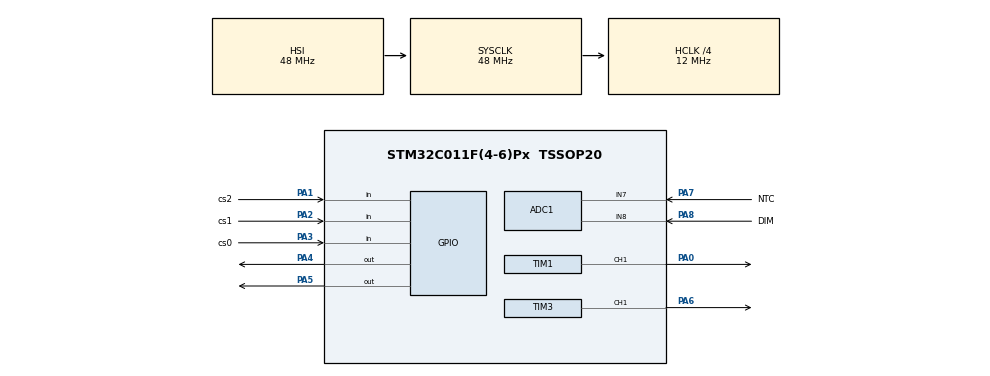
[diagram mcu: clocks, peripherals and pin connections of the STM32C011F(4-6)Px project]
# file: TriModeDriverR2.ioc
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ADC1.Channel-0\#ChannelRegularConversion=ADC_CHANNEL_8
ADC1.Channel-6\#ChannelRegularConversion=ADC_CHANNEL_7
ADC1.Channel-7\#ChannelRegularConversion=ADC_CHANNEL_TEMPSENSOR
ADC1.ClockPrescaler=ADC_CLOCK_SYNC_PCLK_DIV2
ADC1.DMAContinuousRequests=ENABLE
ADC1.EOCSelection=ADC_EOC_SEQ_CONV
ADC1.ExternalTrigConv=ADC_EXTERNALTRIG_T3_TRGO
ADC1.NbrOfConversion=3
ADC1.NbrOfConversionFlag=1
ADC1.Rank-6\#ChannelRegularConversion=2
ADC1.Rank-7\#ChannelRegularConversion=3
ADC1.SamplingTime-6\#ChannelRegularConversion=ADC_SAMPLINGTIME_COMMON_1
ADC1.SamplingTime-7\#ChannelRegularConversion=ADC_SAMPLINGTIME_COMMON_1
ADC1.SamplingTimeCommon1=ADC_SAMPLETIME_79CYCLES_5
ADC1.SamplingTimeCommon2=ADC_SAMPLETIME_19CYCLES_5
ADC1.SelectedChannel=ADC_CHANNEL_7|ADC_CHANNEL_TEMPSENSOR|ADC_CHANNEL_8
ADC1.master=1
Dma.ADC1.0.Direction=DMA_PERIPH_TO_MEMORY
Dma.ADC1.0.EventEnable=DISABLE
Dma.ADC1.0.Instance=DMA1_Channel1
Dma.ADC1.0.MemDataAlignment=DMA_MDATAALIGN_HALFWORD
Dma.ADC1.0.MemInc=DMA_MINC_ENABLE
Dma.ADC1.0.Mode=DMA_CIRCULAR
Dma.ADC1.0.PeriphDataAlignment=DMA_PDATAALIGN_HALFWORD
Dma.ADC1.0.PeriphInc=DMA_PINC_DISABLE
Dma.ADC1.0.Polarity=HAL_DMAMUX_REQ_GEN_RISING
Dma.ADC1.0.Priority=DMA_PRIORITY_LOW
Dma.ADC1.0.RequestNumber=1
Dma.ADC1.0.SignalID=NONE
Dma.ADC1.0.SyncEnable=DISABLE
Dma.ADC1.0.SyncPolarity=HAL_DMAMUX_SYNC_NO_EVENT
Dma.ADC1.0.SyncRequestNumber=1
Dma.ADC1.0.SyncSignalID=NONE
Dma.Request0=ADC1
Mcu.Family=STM32C0
Mcu.Name=STM32C011F(4-6)Px
Mcu.Package=TSSOP20
NVIC.DMA1_Channel1_IRQn=true\:0\:0\:false\:false\:true\:false\:true\:true
NVIC.TIM14_IRQn=true\:2\:0\:true\:false\:true\:true\:true\:true
NVIC.TIM1_CC_IRQn=true\:0\:0\:true\:false\:true\:true\:true\:true
NVIC.TIM3_IRQn=true\:0\:0\:true\:false\:true\:true\:true\:true
PA0.Signal=S_TIM1_CH1
PA1.GPIO_Label=cs2
PA1.GPIO_PuPd=GPIO_PULLDOWN
PA1.Signal=GPIO_Input
PA13.Mode=Serial_Wire
PA13.Signal=DEBUG_SWDIO
PA14-BOOT0.Mode=Serial_Wire
PA14-BOOT0.Signal=DEBUG_SWCLK
PA2.GPIO_Label=cs1
PA2.GPIO_PuPd=GPIO_PULLDOWN
PA2.Signal=GPIO_Input
PA3.GPIO_Label=cs0
PA3.GPIO_PuPd=GPIO_PULLDOWN
PA3.Signal=GPIO_Input
PA4.Signal=GPIO_Output
PA5.Signal=GPIO_Output
PA6.Signal=S_TIM3_CH1
PA7.GPIO_Label=NTC
PA7.Mode=IN7
PA7.Signal=ADC1_IN7
PA8.GPIO_Label=DIM
PA8.GPIO_Mode=GPIO_MODE_ANALOG
PA8.GPIO_PuPd=GPIO_NOPULL
PA8.Mode=IN8
PA8.Signal=ADC1_IN8
ProjectManager.HeapSize=0x200
ProjectManager.StackSize=0x400
ProjectManager.TargetToolchain=STM32CubeIDE
RCC.ADCFreq_Value=48000000
RCC.AHBCLKDivider=RCC_HCLK_DIV4
RCC.AHBFreq_Value=12000000
RCC.CortexFreq_Value=12000000
RCC.EXTERNAL_CLOCK_VALUE=12288000
RCC.HCLKFreq_Value=12000000
RCC.HSE_VALUE=8000000
RCC.HSISYSCLKDivider=RCC_HSI_DIV1
RCC.HSI_VALUE=48000000
RCC.LSE_VALUE=32768
RCC.SYSCLKFreq_VALUE=48000000
SH.S_TIM1_CH1.0=TIM1_CH1,PWM Generation1 CH1
SH.S_TIM3_CH1.0=TIM3_CH1,Output Compare1 CH1
TIM1.Channel-PWM\ Generation1\ CH1=TIM_CHANNEL_1
TIM1.OCPolarity_1=TIM_OCPOLARITY_LOW
TIM1.Period=8192
TIM1.Prescaler=0
TIM14.Channel=TIM_CHANNEL_1
TIM14.Period=999
TIM14.Prescaler=2999
TIM3.Channel-Output\ Compare1\ CH1=TIM_CHANNEL_1
TIM3.OCMode_1=TIM_OCMODE_TOGGLE
TIM3.Period=999
TIM3.Prescaler=8-1
TIM3.Pulse-Output\ Compare1\ CH1=1024
TIM3.TIM_MasterOutputTrigger=TIM_TRGO_UPDATE
TIM3.TIM_MasterSlaveMode=TIM_MASTERSLAVEMODE_ENABLE
VP_ADC1_TempSens_Input.Mode=IN-TempSens
VP_TIM14_VS_ClockSourceINT.Mode=Enable_Timer
VP_TIM1_VS_ClockSourceINT.Mode=Internal
VP_TIM3_VS_ClockSourceINT.Mode=Internal
board=custom

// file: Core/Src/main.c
/* USER CODE BEGIN Header */
/**
  ******************************************************************************
  * @file           : main.c
  * @brief          : Main program body
  ******************************************************************************
  * @attention
  *
  * Copyright (c) 2024 STMicroelectronics.
  * All rights reserved.
  *
  * This software is licensed under terms that can be found in the LICENSE file
  * in the root directory of this software component.
  * If no LICENSE file comes with this software, it is provided AS-IS.
  *
  ******************************************************************************
  */
/* USER CODE END Header */
#include "main.h"

/* USER CODE BEGIN Includes */
 uint16_t dim_filt;
 uint16_t ntc_filt;
 uint16_t dim_adc;
 uint16_t ntc_adc;
 uint16_t dim_setpoint;
 uint16_t current_index;
 uint16_t duty_cycle;
 uint16_t duty_cycle_setpoint;
 uint16_t over_temp_duty_cycle;
 uint16_t ntc;
 uint16_t MCU_temperature;
 uint16_t temp;
 uint16_t cs0;
 uint16_t cs1;
 uint16_t cs2;
 uint16_t start_derating = OTP_THRESHOLD;
 int16_t filter_out;
 uint16_t counter_filter;
//volatile uint32_t sum;
//volatile uint32_t in;
//volatile uint32_t average;
//volatile uint16_t alpha;
volatile uint32_t dim_circ_buf[N(K)]; // The circular buffer is the filter register.
volatile uint32_t ntc_circ_buf[N(K)]; // The circular buffer is the filter register.
volatile uint32_t otp_circ_buf[N(K)];
volatile uint32_t dim_sum = 0; // Sum of elements in the filter register.
volatile uint32_t ntc_sum = 0; // Sum of elements in the filter register.
volatile uint32_t otp_duty_cycle_sum = 0;
volatile uint16_t circ_buf_ptr = 0; // Index for the circular buffer.
volatile uint16_t otp_circ_buf_ptr = 0; // Index for the circular buffer.
 float ntc_temp;
 float ntc_resistance;
 float ratio;
 float T;
 float otp_duty_cycle;

 uint16_t otp_flag = 1;
 uint16_t softstart = 0;
//float start_dimming = 0.53 ; // in %
//float start_derating = 80; // in °C
//float stop_dimming = 0; // in %
//float stop_derating = 100; // in °C
// y = (start_dimming - stop_dimming) / (start_derating - stop_derating);
// x = - ( (y * start_derating) - (start_dimming) );

float percent_derating;

State_e state;
/* USER CODE END Includes */

/* USER CODE BEGIN PD */
#define ADC_BUF_LEN 3

/* USER CODE END PD */

ADC_HandleTypeDef hadc1;
DMA_HandleTypeDef hdma_adc1;

TIM_HandleTypeDef htim1;
TIM_HandleTypeDef htim3;
TIM_HandleTypeDef htim14;

/* USER CODE BEGIN PV */
uint16_t 	adcResultsDMA[ADC_BUF_LEN];

//const int 			adcChannelCount = sizeof (adcResultsDMA)/sizeof (adcResultsDMA[0]);
volatile int		adcConversionComplete = 0;

/* USER CODE END PV */

void SystemClock_Config(void);
static void MX_GPIO_Init(void);
static void MX_DMA_Init(void);
static void MX_ADC1_Init(void);
static void MX_TIM1_Init(void);
static void MX_TIM3_Init(void);
static void MX_TIM14_Init(void);

/* USER CODE BEGIN 0 */

uint8_t convCompleted = 0;

void HAL_ADC_ConvCpltCallback(ADC_HandleTypeDef *hadc)
{
	convCompleted = 1;
	HAL_GPIO_TogglePin(GPIOA, GPIO_PIN_5);
	HAL_ADC_Stop_DMA(&hadc1);

//	 dim_filt = Averagingfilter (dim_adc);
//	 uint16_t Averagingfilter (uint16_t input) {
//	 dim_sum -= dim_circ_buf[circ_buf_ptr]; // Subtract the oldest value from the sum.
//	 ntc_sum -= ntc_circ_buf[circ_buf_ptr]; // Subtract the oldest value from the sum.
//	 dim_circ_buf[circ_buf_ptr] = dim_adc; // Place the input in the filter register.
//	 ntc_circ_buf[circ_buf_ptr] = ntc_adc; // Place the input in the filter register.
//	 dim_sum += dim_circ_buf[circ_buf_ptr++]; // Ad the newest value to the sum.
//	 ntc_sum += ntc_circ_buf[circ_buf_ptr++]; // Ad the newest value to the sum.
//	 circ_buf_ptr %= N(K); // Increment the buffer keeping it in the range 0 to N-1;
//	 dim_filt = dim_sum >> K;
//	 ntc_filt = ntc_sum >> K;
//	 temp = dim_filt;
}

/* USER CODE END 0 */

int main(void)
{

  /* USER CODE BEGIN 1 */

	current_index = 0.0f;
	ntc = 0;
	duty_cycle_setpoint = 0;
	duty_cycle = 1;
	MCU_temperature = 0;
	temp = 0;
	cs0 = 0;
	cs1 = 0;
	cs2 = 0;
	state = STANDBY;
	float max_current[8] = {
			SCALED_CURRENT_LEVEL_1,
			SCALED_CURRENT_LEVEL_2,
			SCALED_CURRENT_LEVEL_3,
			SCALED_CURRENT_LEVEL_4,
			SCALED_CURRENT_LEVEL_5,
			SCALED_CURRENT_LEVEL_6,
			SCALED_CURRENT_LEVEL_7,
			SCALED_CURRENT_LEVEL_8
			};
	duty_cycle = 0;

  /* USER CODE END 1 */

  /* MCU Configuration--------------------------------------------------------*/

  /* Reset of all peripherals, Initializes the Flash interface and the Systick. */
  HAL_Init();

  /* Configure the system clock */
  SystemClock_Config();

  /* Initialize all configured peripherals */
  MX_GPIO_Init();
  MX_DMA_Init();
  MX_ADC1_Init();
  MX_TIM1_Init();
  MX_TIM3_Init();
  MX_TIM14_Init();
  /* USER CODE BEGIN 2 */

  HAL_TIM_Base_Start_IT(&htim3);
  HAL_TIM_OC_Start(&htim3, TIM_CHANNEL_1);
  HAL_TIM_Base_Start_IT(&htim14);
  HAL_TIM_OC_Start(&htim14, TIM_CHANNEL_1);

  HAL_TIM_PWM_Start(&htim1, TIM_CHANNEL_1);
  HAL_ADC_Start_DMA(&hadc1, (uint32_t*)adcResultsDMA, ADC_BUF_LEN);
  /* USER CODE END 2 */

  /* Infinite loop */
  while (1)
  {

    /* USER CODE BEGIN 3 */
//	  	  HAL_ADC_Start(&hadc1);
//	  	  HAL_ADC_PollForConversion(&hadc1, HAL_MAX_DELAY);
//  	  	  HAL_ADC_Start_DMA(&hadc1, (uint32_t*)adcResultsDMA, ADC_BUF_LEN);

// Voltage divider is 120k and 61.9k. Gain is 0.340, adc count at 9.7V = 4095. adc count at 1.0V is 395
	  	  dim_adc = adcResultsDMA[0];
	  	  ntc_adc = adcResultsDMA[1];
	  	  dim_sum -= dim_circ_buf[circ_buf_ptr]; // Subtract the oldest value from the sum.
	  	  ntc_sum -= ntc_circ_buf[circ_buf_ptr]; // Subtract the oldest value from the sum.
	  	  dim_circ_buf[circ_buf_ptr] = dim_adc; // Place the input in the filter register.
	  	  ntc_circ_buf[circ_buf_ptr] = ntc_adc; // Place the input in the filter register.
	  	  dim_sum += dim_circ_buf[circ_buf_ptr]; // Ad the newest value to the sum.
	  	  ntc_sum += ntc_circ_buf[circ_buf_ptr++]; // Ad the newest value to the sum.
	  	  circ_buf_ptr %= N(K); // Increment the buffer keeping it in the range 0 to N-1;
	  	  dim_filt = (uint16_t)(dim_sum >> K);
	  	  ntc_filt = (uint16_t)(ntc_sum >> K);
	  	  temp = dim_filt;

		  if (dim_filt < 870){
			  dim_filt = 0;
		  }
		  if (dim_filt != 0){
		  dim_filt = dim_filt - 870; //Offset due to 1k resistor and 0.5mA current source
		  dim_filt = dim_filt * 1.27;// set slope
		  }
		  if (dim_filt > 4095){
			  dim_filt = 4095;
		  }
		  dim_setpoint = dim_filt;

		  MCU_temperature = adcResultsDMA[2];

		  HAL_ADC_Start_DMA(&hadc1, (uint32_t*)adcResultsDMA, ADC_BUF_LEN);
//	  	  HAL_Delay(50);

		  cs0 = HAL_GPIO_ReadPin(GPIOA, GPIO_PIN_3);
		  cs1 = HAL_GPIO_ReadPin(GPIOA, GPIO_PIN_2);
		  cs2 = HAL_GPIO_ReadPin(GPIOA, GPIO_PIN_1);
		  current_index = (cs2<<2) + (cs1<<1) + cs0;

//	  	  temp = max_current[current_index];

	  	  duty_cycle = max_current[current_index] * dim_setpoint; //Timer1 period is 8192

			 if ((duty_cycle_setpoint <= duty_cycle) && (ntc_temp < START_DERATING)){
				 duty_cycle_setpoint++;
				 percent_derating = 1;
				 otp_flag = 1;
			 }
			 if ((duty_cycle_setpoint > duty_cycle) && (ntc_temp < START_DERATING)){
			 	 duty_cycle_setpoint--;
			 	percent_derating = 1;
			 	otp_flag = 1;
			 }
//			 HAL_GPIO_TogglePin(GPIOA, GPIO_PIN_4);
			 TIM1->CCR1 = duty_cycle_setpoint;   //Timer1 period is 8192

	  	  switch (state) {
	  	           case STANDBY:
	  	           if (softstart < 9){
	  	            duty_cycle_setpoint = duty_cycle;
	  	           }
	  	           if (softstart == 9){
	  	           	state = RUNNING;
	  	           }
	  	           ++softstart;

	  	            break;
	  	            case SOFTSTART:
	  	            break;
	  	            case FAULT:
	  	          	break;
	  	            case RUNNING:
	  	            	softstart = 0;
	  	}
  }

}

	void HAL_TIM_PeriodElapsedCallback(TIM_HandleTypeDef *htim)
	{
	  /* Prevent unused argument(s) compilation warning */
		 if(htim->Instance==TIM14)
		     {
//			 if ((duty_cycle_setpoint <= duty_cycle) && (ntc_temp < START_DERATING)){
//			 				 duty_cycle_setpoint++;
//			 				 percent_derating = 1;
//			 				 otp_flag = 1;
//			 			 }
//			 			 if ((duty_cycle_setpoint > duty_cycle) && (ntc_temp < START_DERATING)){
//			 			 	 duty_cycle_setpoint--;
//			 			 	percent_derating = 1;
//			 			 	otp_flag = 1;
//			 			 }

			 //	  	  ntc_resistance = thermistorResistance(ntc_filt);
			 	  	  ratio = (float)ntc_filt/4096.0;
			 	  	  ntc_resistance = 10000 * (1-ratio)/ ratio;
			 //	  	  ntc_temp = thermistorTemperature(ntc_resistance);
			 	  	  T =  1 / ((1 / T25) + ((log(ntc_resistance / R25)) / BETA));
			 	  	  ntc_temp = T - 273.15; // Converting kelvin to celsius
			 	  	  if (ntc_temp > START_DERATING && ntc_temp < STOP_DERATING){
			 	  		  // derating slope calculation
			 	  		  if (otp_flag == 1){
			 				 over_temp_duty_cycle = duty_cycle_setpoint;
			 				 otp_flag = 0;
			 				 }
			 				 percent_derating = ntc_temp * ORDINATE + ABSCISSA;
			 				 if(percent_derating > 1)percent_derating = 1;
			 				 otp_duty_cycle = (over_temp_duty_cycle * percent_derating);

			 				otp_duty_cycle_sum -= otp_circ_buf[otp_circ_buf_ptr]; // Subtract the oldest value from the sum.

			 				otp_circ_buf[otp_circ_buf_ptr] = otp_duty_cycle; // Place the input in the filter register.

			 				otp_duty_cycle_sum += otp_circ_buf[otp_circ_buf_ptr++]; // Ad the newest value to the sum.

			 				otp_circ_buf_ptr %= N(K); // Increment the buffer keeping it in the range 0 to N-1;

			 				duty_cycle_setpoint = (uint16_t)(otp_duty_cycle_sum>>K);
			 			 }
			 			 HAL_GPIO_TogglePin(GPIOA, GPIO_PIN_4);
//			 			 TIM1->CCR1 = duty_cycle_setpoint;   //Timer1 period is 8192
			 }

	}
  /* USER CODE END 3 */

void SystemClock_Config(void)
{
  RCC_OscInitTypeDef RCC_OscInitStruct = {0};
  RCC_ClkInitTypeDef RCC_ClkInitStruct = {0};

  /** Initializes the RCC Oscillators according to the specified parameters
  * in the RCC_OscInitTypeDef structure.
  */
  RCC_OscInitStruct.OscillatorType = RCC_OSCILLATORTYPE_HSI;
  RCC_OscInitStruct.HSIState = RCC_HSI_ON;
  RCC_OscInitStruct.HSIDiv = RCC_HSI_DIV1;
  RCC_OscInitStruct.HSICalibrationValue = RCC_HSICALIBRATION_DEFAULT;
  if (HAL_RCC_OscConfig(&RCC_OscInitStruct) != HAL_OK)
  {
    Error_Handler();
  }

  /** Initializes the CPU, AHB and APB buses clocks
  */
  RCC_ClkInitStruct.ClockType = RCC_CLOCKTYPE_HCLK|RCC_CLOCKTYPE_SYSCLK
                              |RCC_CLOCKTYPE_PCLK1;
  RCC_ClkInitStruct.SYSCLKSource = RCC_SYSCLKSOURCE_HSI;
  RCC_ClkInitStruct.SYSCLKDivider = RCC_SYSCLK_DIV1;
  RCC_ClkInitStruct.AHBCLKDivider = RCC_HCLK_DIV4;
  RCC_ClkInitStruct.APB1CLKDivider = RCC_APB1_DIV1;

  if (HAL_RCC_ClockConfig(&RCC_ClkInitStruct, FLASH_LATENCY_0) != HAL_OK)
  {
    Error_Handler();
  }
}

static void MX_ADC1_Init(void)
{

  ADC_ChannelConfTypeDef sConfig = {0};

  /** Configure the global features of the ADC (Clock, Resolution, Data Alignment and number of conversion)
  */
  hadc1.Instance = ADC1;
  hadc1.Init.ClockPrescaler = ADC_CLOCK_SYNC_PCLK_DIV2;
  hadc1.Init.Resolution = ADC_RESOLUTION_12B;
  hadc1.Init.DataAlign = ADC_DATAALIGN_RIGHT;
  hadc1.Init.ScanConvMode = ADC_SCAN_ENABLE;
  hadc1.Init.EOCSelection = ADC_EOC_SEQ_CONV;
  hadc1.Init.LowPowerAutoWait = DISABLE;
  hadc1.Init.LowPowerAutoPowerOff = DISABLE;
  hadc1.Init.ContinuousConvMode = DISABLE;
  hadc1.Init.NbrOfConversion = 3;
  hadc1.Init.DiscontinuousConvMode = DISABLE;
  hadc1.Init.ExternalTrigConv = ADC_EXTERNALTRIG_T3_TRGO;
  hadc1.Init.ExternalTrigConvEdge = ADC_EXTERNALTRIGCONVEDGE_RISING;
  hadc1.Init.DMAContinuousRequests = ENABLE;
  hadc1.Init.Overrun = ADC_OVR_DATA_PRESERVED;
  hadc1.Init.SamplingTimeCommon1 = ADC_SAMPLETIME_79CYCLES_5;
  hadc1.Init.SamplingTimeCommon2 = ADC_SAMPLETIME_19CYCLES_5;
  hadc1.Init.OversamplingMode = DISABLE;
  hadc1.Init.TriggerFrequencyMode = ADC_TRIGGER_FREQ_HIGH;
  if (HAL_ADC_Init(&hadc1) != HAL_OK)
  {
    Error_Handler();
  }

  /** Configure Regular Channel
  */
  sConfig.Channel = ADC_CHANNEL_8;
  sConfig.Rank = ADC_REGULAR_RANK_1;
  sConfig.SamplingTime = ADC_SAMPLINGTIME_COMMON_1;
  if (HAL_ADC_ConfigChannel(&hadc1, &sConfig) != HAL_OK)
  {
    Error_Handler();
  }

  /** Configure Regular Channel
  */
  sConfig.Channel = ADC_CHANNEL_7;
  sConfig.Rank = ADC_REGULAR_RANK_2;
  if (HAL_ADC_ConfigChannel(&hadc1, &sConfig) != HAL_OK)
  {
    Error_Handler();
  }

  /** Configure Regular Channel
  */
  sConfig.Channel = ADC_CHANNEL_TEMPSENSOR;
  sConfig.Rank = ADC_REGULAR_RANK_3;
  if (HAL_ADC_ConfigChannel(&hadc1, &sConfig) != HAL_OK)
  {
    Error_Handler();
  }

}

static void MX_TIM1_Init(void)
{

  TIM_ClockConfigTypeDef sClockSourceConfig = {0};
  TIM_MasterConfigTypeDef sMasterConfig = {0};
  TIM_OC_InitTypeDef sConfigOC = {0};
  TIM_BreakDeadTimeConfigTypeDef sBreakDeadTimeConfig = {0};

  htim1.Instance = TIM1;
  htim1.Init.Prescaler = 0;
  htim1.Init.CounterMode = TIM_COUNTERMODE_UP;
  htim1.Init.Period = 8192;
  htim1.Init.ClockDivision = TIM_CLOCKDIVISION_DIV1;
  htim1.Init.RepetitionCounter = 0;
  htim1.Init.AutoReloadPreload = TIM_AUTORELOAD_PRELOAD_DISABLE;
  if (HAL_TIM_Base_Init(&htim1) != HAL_OK)
  {
    Error_Handler();
  }
  sClockSourceConfig.ClockSource = TIM_CLOCKSOURCE_INTERNAL;
  if (HAL_TIM_ConfigClockSource(&htim1, &sClockSourceConfig) != HAL_OK)
  {
    Error_Handler();
  }
  if (HAL_TIM_PWM_Init(&htim1) != HAL_OK)
  {
    Error_Handler();
  }
  sMasterConfig.MasterOutputTrigger = TIM_TRGO_RESET;
  sMasterConfig.MasterOutputTrigger2 = TIM_TRGO2_RESET;
  sMasterConfig.MasterSlaveMode = TIM_MASTERSLAVEMODE_DISABLE;
  if (HAL_TIMEx_MasterConfigSynchronization(&htim1, &sMasterConfig) != HAL_OK)
  {
    Error_Handler();
  }
  sConfigOC.OCMode = TIM_OCMODE_PWM1;
  sConfigOC.Pulse = 0;
  sConfigOC.OCPolarity = TIM_OCPOLARITY_LOW;
  sConfigOC.OCNPolarity = TIM_OCNPOLARITY_HIGH;
  sConfigOC.OCFastMode = TIM_OCFAST_DISABLE;
  sConfigOC.OCIdleState = TIM_OCIDLESTATE_RESET;
  sConfigOC.OCNIdleState = TIM_OCNIDLESTATE_RESET;
  if (HAL_TIM_PWM_ConfigChannel(&htim1, &sConfigOC, TIM_CHANNEL_1) != HAL_OK)
  {
    Error_Handler();
  }
  sBreakDeadTimeConfig.OffStateRunMode = TIM_OSSR_DISABLE;
  sBreakDeadTimeConfig.OffStateIDLEMode = TIM_OSSI_DISABLE;
  sBreakDeadTimeConfig.LockLevel = TIM_LOCKLEVEL_OFF;
  sBreakDeadTimeConfig.DeadTime = 0;
  sBreakDeadTimeConfig.BreakState = TIM_BREAK_DISABLE;
  sBreakDeadTimeConfig.BreakPolarity = TIM_BREAKPOLARITY_HIGH;
  sBreakDeadTimeConfig.BreakFilter = 0;
  sBreakDeadTimeConfig.BreakAFMode = TIM_BREAK_AFMODE_INPUT;
  sBreakDeadTimeConfig.Break2State = TIM_BREAK2_DISABLE;
  sBreakDeadTimeConfig.Break2Polarity = TIM_BREAK2POLARITY_HIGH;
  sBreakDeadTimeConfig.Break2Filter = 0;
  sBreakDeadTimeConfig.Break2AFMode = TIM_BREAK_AFMODE_INPUT;
  sBreakDeadTimeConfig.AutomaticOutput = TIM_AUTOMATICOUTPUT_DISABLE;
  if (HAL_TIMEx_ConfigBreakDeadTime(&htim1, &sBreakDeadTimeConfig) != HAL_OK)
  {
    Error_Handler();
  }
  HAL_TIM_MspPostInit(&htim1);

}

static void MX_TIM3_Init(void)
{

  TIM_ClockConfigTypeDef sClockSourceConfig = {0};
  TIM_MasterConfigTypeDef sMasterConfig = {0};
  TIM_OC_InitTypeDef sConfigOC = {0};

  htim3.Instance = TIM3;
  htim3.Init.Prescaler = 8-1;
  htim3.Init.CounterMode = TIM_COUNTERMODE_UP;
  htim3.Init.Period = 999;
  htim3.Init.ClockDivision = TIM_CLOCKDIVISION_DIV1;
  htim3.Init.AutoReloadPreload = TIM_AUTORELOAD_PRELOAD_DISABLE;
  if (HAL_TIM_Base_Init(&htim3) != HAL_OK)
  {
    Error_Handler();
  }
  sClockSourceConfig.ClockSource = TIM_CLOCKSOURCE_INTERNAL;
  if (HAL_TIM_ConfigClockSource(&htim3, &sClockSourceConfig) != HAL_OK)
  {
    Error_Handler();
  }
  if (HAL_TIM_OC_Init(&htim3) != HAL_OK)
  {
    Error_Handler();
  }
  sMasterConfig.MasterOutputTrigger = TIM_TRGO_UPDATE;
  sMasterConfig.MasterSlaveMode = TIM_MASTERSLAVEMODE_ENABLE;
  if (HAL_TIMEx_MasterConfigSynchronization(&htim3, &sMasterConfig) != HAL_OK)
  {
    Error_Handler();
  }
  sConfigOC.OCMode = TIM_OCMODE_TOGGLE;
  sConfigOC.Pulse = 1024;
  sConfigOC.OCPolarity = TIM_OCPOLARITY_HIGH;
  sConfigOC.OCFastMode = TIM_OCFAST_DISABLE;
  if (HAL_TIM_OC_ConfigChannel(&htim3, &sConfigOC, TIM_CHANNEL_1) != HAL_OK)
  {
    Error_Handler();
  }
  HAL_TIM_MspPostInit(&htim3);

}

static void MX_TIM14_Init(void)
{

  htim14.Instance = TIM14;
  htim14.Init.Prescaler = 2999;
  htim14.Init.CounterMode = TIM_COUNTERMODE_UP;
  htim14.Init.Period = 999;
  htim14.Init.ClockDivision = TIM_CLOCKDIVISION_DIV1;
  htim14.Init.AutoReloadPreload = TIM_AUTORELOAD_PRELOAD_DISABLE;
  if (HAL_TIM_Base_Init(&htim14) != HAL_OK)
  {
    Error_Handler();
  }

}

static void MX_DMA_Init(void)
{

  /* DMA controller clock enable */
  __HAL_RCC_DMA1_CLK_ENABLE();

  /* DMA interrupt init */
  /* DMA1_Channel1_IRQn interrupt configuration */
  HAL_NVIC_SetPriority(DMA1_Channel1_IRQn, 0, 0);
  HAL_NVIC_EnableIRQ(DMA1_Channel1_IRQn);

}

static void MX_GPIO_Init(void)
{
  GPIO_InitTypeDef GPIO_InitStruct = {0};

  /* GPIO Ports Clock Enable */
  __HAL_RCC_GPIOA_CLK_ENABLE();

  /*Configure GPIO pin Output Level */
  HAL_GPIO_WritePin(GPIOA, GPIO_PIN_4|GPIO_PIN_5, GPIO_PIN_RESET);

  /*Configure GPIO pins : cs2_Pin cs1_Pin cs0_Pin */
  GPIO_InitStruct.Pin = cs2_Pin|cs1_Pin|cs0_Pin;
  GPIO_InitStruct.Mode = GPIO_MODE_INPUT;
  GPIO_InitStruct.Pull = GPIO_PULLDOWN;
  HAL_GPIO_Init(GPIOA, &GPIO_InitStruct);

  /*Configure GPIO pins : PA4 PA5 */
  GPIO_InitStruct.Pin = GPIO_PIN_4|GPIO_PIN_5;
  GPIO_InitStruct.Mode = GPIO_MODE_OUTPUT_PP;
  GPIO_InitStruct.Pull = GPIO_NOPULL;
  GPIO_InitStruct.Speed = GPIO_SPEED_FREQ_LOW;
  HAL_GPIO_Init(GPIOA, &GPIO_InitStruct);

}

void Error_Handler(void)
{
  __disable_irq();
  while (1)
  {
  }
}
